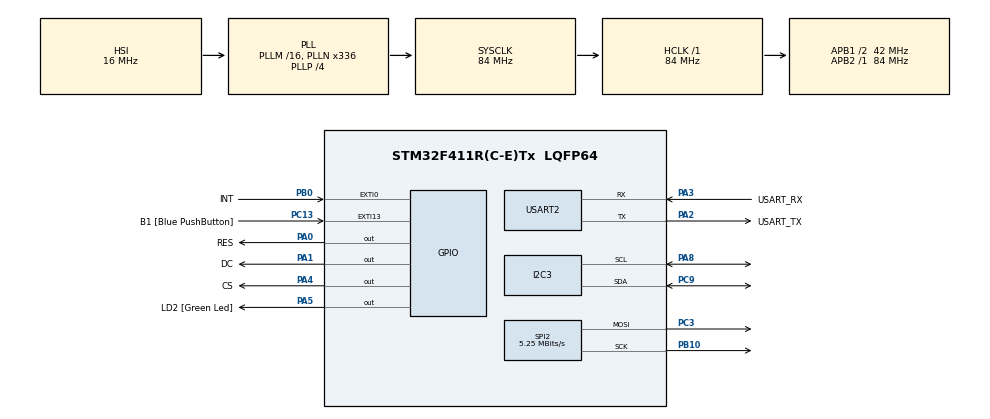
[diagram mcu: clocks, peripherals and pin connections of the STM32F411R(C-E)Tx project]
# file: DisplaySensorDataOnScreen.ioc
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I2C3.I2C_Mode=I2C_Fast
Mcu.Family=STM32F4
Mcu.Name=STM32F411R(C-E)Tx
Mcu.Package=LQFP64
NVIC.EXTI0_IRQn=true\:0\:0\:false\:false\:true\:true\:true\:true
NVIC.PriorityGroup=NVIC_PRIORITYGROUP_0
PA0-WKUP.GPIO_Label=RES
PA0-WKUP.PinState=GPIO_PIN_SET
PA0-WKUP.Signal=GPIO_Output
PA1.GPIO_Label=DC
PA1.Signal=GPIO_Output
PA13.GPIO_Label=TMS
PA13.Mode=Serial_Wire
PA13.Signal=SYS_JTMS-SWDIO
PA14.GPIO_Label=TCK
PA14.Mode=Serial_Wire
PA14.Signal=SYS_JTCK-SWCLK
PA2.GPIO_Label=USART_TX
PA2.Mode=Asynchronous
PA2.Signal=USART2_TX
PA3.GPIO_Label=USART_RX
PA3.Mode=Asynchronous
PA3.Signal=USART2_RX
PA4.GPIO_Label=CS
PA4.PinState=GPIO_PIN_SET
PA4.Signal=GPIO_Output
PA5.GPIO_Label=LD2 [Green Led]
PA5.Signal=GPIO_Output
PA8.Mode=I2C
PA8.Signal=I2C3_SCL
PB0.GPIO_Label=INT
PB0.Signal=GPXTI0
PB10.Mode=TX_Only_Simplex_Unidirect_Master
PB10.Signal=SPI2_SCK
PB3.GPIO_Label=SWO
PB3.Signal=SYS_JTDO-SWO
PC13-ANTI_TAMP.GPIO_Label=B1 [Blue PushButton]
PC13-ANTI_TAMP.GPIO_ModeDefaultEXTI=GPIO_MODE_IT_FALLING
PC13-ANTI_TAMP.Signal=GPXTI13
PC14-OSC32_IN.Mode=LSE-External-Oscillator
PC14-OSC32_IN.Signal=RCC_OSC32_IN
PC15-OSC32_OUT.Mode=LSE-External-Oscillator
PC15-OSC32_OUT.Signal=RCC_OSC32_OUT
PC3.Mode=TX_Only_Simplex_Unidirect_Master
PC3.Signal=SPI2_MOSI
PC9.Mode=I2C
PC9.Signal=I2C3_SDA
PH0\ -\ OSC_IN.Mode=HSE-External-Clock-Source
PH0\ -\ OSC_IN.Signal=RCC_OSC_IN
PH1\ -\ OSC_OUT.Mode=HSE-External-Clock-Source
PH1\ -\ OSC_OUT.Signal=RCC_OSC_OUT
ProjectManager.HeapSize=0x200
ProjectManager.StackSize=0x400
ProjectManager.TargetToolchain=STM32CubeIDE
RCC.48MHZClocksFreq_Value=84000000
RCC.AHBFreq_Value=84000000
RCC.APB1CLKDivider=RCC_HCLK_DIV2
RCC.APB1Freq_Value=42000000
RCC.APB1TimFreq_Value=84000000
RCC.APB2Freq_Value=84000000
RCC.APB2TimFreq_Value=84000000
RCC.CortexFreq_Value=84000000
RCC.FLatency-AdvancedSettings=FLASH_LATENCY_2
RCC.HCLKFreq_Value=84000000
RCC.HSE_VALUE=8000000
RCC.HSI_VALUE=16000000
RCC.PLLN=336
RCC.PLLP=RCC_PLLP_DIV4
RCC.SYSCLKFreq_VALUE=84000000
RCC.SYSCLKSource=RCC_SYSCLKSOURCE_PLLCLK
RCC.VCOOutputFreq_Value=336000000
SPI2.BaudRatePrescaler=SPI_BAUDRATEPRESCALER_8
SPI2.CalculateBaudRate=5.25 MBits/s
SPI2.Direction=SPI_DIRECTION_2LINES
SPI2.Mode=SPI_MODE_MASTER
SPI2.VirtualType=VM_MASTER
USART2.VirtualMode=VM_ASYNC
board=NUCLEO-F411RE

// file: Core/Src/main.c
/* USER CODE BEGIN Header */
/**
  ******************************************************************************
  * @file           : main.c
  * @brief          : Main program body
  ******************************************************************************
  * @attention
  *
  * Copyright (c) 2026 STMicroelectronics.
  * All rights reserved.
  *
  * This software is licensed under terms that can be found in the LICENSE file
  * in the root directory of this software component.
  * If no LICENSE file comes with this software, it is provided AS-IS.
  *
  ******************************************************************************
  */
/* USER CODE END Header */
#include "main.h"
#include "MPU6050.h"
#include "SSD1309.h"

I2C_HandleTypeDef hi2c3;

SPI_HandleTypeDef hspi2;

UART_HandleTypeDef huart2;

void SystemClock_Config(void);
static void MX_GPIO_Init(void);
static void MX_I2C3_Init(void);
static void MX_SPI2_Init(void);
static void MX_USART2_UART_Init(void);

/* USER CODE BEGIN 0 */
volatile uint8_t data_rdy = 0;
void HAL_GPIO_EXTI_Callback(uint16_t GPIO_Pin){
	if (GPIO_Pin == GPIO_PIN_0){
		data_rdy = 1;
	}
	else{
		__NOP();
	}
}
/* USER CODE END 0 */

int main(void)
{

  /* MCU Configuration--------------------------------------------------------*/

  /* Reset of all peripherals, Initializes the Flash interface and the Systick. */
  HAL_Init();

  /* Configure the system clock */
  SystemClock_Config();

  /* Initialize all configured peripherals */
  MX_GPIO_Init();
  MX_I2C3_Init();
  MX_SPI2_Init();
  MX_USART2_UART_Init();
  /* USER CODE BEGIN 2 */

  SSD1309_PinMap pinmap = {
		  .cs.GPIOx = GPIOA,
		  .cs.GPIO_Pin = GPIO_PIN_4,
		  .dc.GPIOx = GPIOA,
		  .dc.GPIO_Pin = GPIO_PIN_1,
		  .res.GPIOx = GPIOA,
		  .res.GPIO_Pin = GPIO_PIN_0
  };

  SSD1309ResetDevice(&hspi2, &pinmap);
  HAL_GPIO_WritePin(GPIOA, GPIO_PIN_1, GPIO_PIN_RESET);
  HAL_GPIO_WritePin(GPIOA, GPIO_PIN_4, GPIO_PIN_RESET);
  HAL_Delay(50);
  uint8_t all_on[2] = {0xAF, 0xA5};
  HAL_SPI_Transmit(&hspi2, all_on, 2, 10);
  HAL_GPIO_WritePin(GPIOA, GPIO_PIN_4, GPIO_PIN_SET);

  SelfTestParameters sp = {0};
  Read_Test_Values(&hi2c3, &sp);
  uint8_t result = Perform_Test(&hi2c3, sp);
  if (result) return 1;

  MPU60X0ConfigRegisters conf = {
		  .config = CONFIG_DLPF_CFG_184Hz,
		  .gyro_config = GYRO_CONFIG_FS_SEL_1000,
		  .accel_config = ACCEL_CONFIG_AFS_SEL_8G,
		  .mot_thr = 0x00,
		  .fifo_en = (FIFO_EN_TEMP | FIFO_EN_XG | FIFO_EN_YG | FIFO_EN_ZG | FIFO_EN_ACCEL),
		  .i2c_mst_ctrl = 0x00,
		  .int_pin_cfg = 0x00,
		  .int_enable = INT_ENABLE_DATA_RDY_EN,
		  .signal_path_reset = 0x00,
		  .mot_detect_ctrl = 0x00,
		  .user_ctrl = FIFO_EN,
		  .pwr_mgmt_1 = PWR_MGMT_1_CLKSEL_PLL_X,
		  .pwr_mgmt_2 = 0x00
  };
  MPU60X0Init(&hi2c3, &conf);
  int16_t acc[3], gyro[3], temp;
  /* USER CODE END 2 */

  /* Infinite loop */
  /* USER CODE BEGIN WHILE */
  while (1)
  {
	  if (data_rdy == 1){
		  MPU60X0_Read_FIFO_All(&hi2c3, acc, &temp, gyro);

	  }
    /* USER CODE END WHILE */

  }
}

void SystemClock_Config(void)
{
  RCC_OscInitTypeDef RCC_OscInitStruct = {0};
  RCC_ClkInitTypeDef RCC_ClkInitStruct = {0};

  /** Configure the main internal regulator output voltage
  */
  __HAL_RCC_PWR_CLK_ENABLE();
  __HAL_PWR_VOLTAGESCALING_CONFIG(PWR_REGULATOR_VOLTAGE_SCALE1);

  /** Initializes the RCC Oscillators according to the specified parameters
  * in the RCC_OscInitTypeDef structure.
  */
  RCC_OscInitStruct.OscillatorType = RCC_OSCILLATORTYPE_HSI;
  RCC_OscInitStruct.HSIState = RCC_HSI_ON;
  RCC_OscInitStruct.HSICalibrationValue = RCC_HSICALIBRATION_DEFAULT;
  RCC_OscInitStruct.PLL.PLLState = RCC_PLL_ON;
  RCC_OscInitStruct.PLL.PLLSource = RCC_PLLSOURCE_HSI;
  RCC_OscInitStruct.PLL.PLLM = 16;
  RCC_OscInitStruct.PLL.PLLN = 336;
  RCC_OscInitStruct.PLL.PLLP = RCC_PLLP_DIV4;
  RCC_OscInitStruct.PLL.PLLQ = 4;
  if (HAL_RCC_OscConfig(&RCC_OscInitStruct) != HAL_OK)
  {
    Error_Handler();
  }

  /** Initializes the CPU, AHB and APB buses clocks
  */
  RCC_ClkInitStruct.ClockType = RCC_CLOCKTYPE_HCLK|RCC_CLOCKTYPE_SYSCLK
                              |RCC_CLOCKTYPE_PCLK1|RCC_CLOCKTYPE_PCLK2;
  RCC_ClkInitStruct.SYSCLKSource = RCC_SYSCLKSOURCE_PLLCLK;
  RCC_ClkInitStruct.AHBCLKDivider = RCC_SYSCLK_DIV1;
  RCC_ClkInitStruct.APB1CLKDivider = RCC_HCLK_DIV2;
  RCC_ClkInitStruct.APB2CLKDivider = RCC_HCLK_DIV1;

  if (HAL_RCC_ClockConfig(&RCC_ClkInitStruct, FLASH_LATENCY_2) != HAL_OK)
  {
    Error_Handler();
  }
}

static void MX_I2C3_Init(void)
{

  hi2c3.Instance = I2C3;
  hi2c3.Init.ClockSpeed = 400000;
  hi2c3.Init.DutyCycle = I2C_DUTYCYCLE_2;
  hi2c3.Init.OwnAddress1 = 0;
  hi2c3.Init.AddressingMode = I2C_ADDRESSINGMODE_7BIT;
  hi2c3.Init.DualAddressMode = I2C_DUALADDRESS_DISABLE;
  hi2c3.Init.OwnAddress2 = 0;
  hi2c3.Init.GeneralCallMode = I2C_GENERALCALL_DISABLE;
  hi2c3.Init.NoStretchMode = I2C_NOSTRETCH_DISABLE;
  if (HAL_I2C_Init(&hi2c3) != HAL_OK)
  {
    Error_Handler();
  }

}

static void MX_SPI2_Init(void)
{

  /* SPI2 parameter configuration*/
  hspi2.Instance = SPI2;
  hspi2.Init.Mode = SPI_MODE_MASTER;
  hspi2.Init.Direction = SPI_DIRECTION_2LINES;
  hspi2.Init.DataSize = SPI_DATASIZE_8BIT;
  hspi2.Init.CLKPolarity = SPI_POLARITY_LOW;
  hspi2.Init.CLKPhase = SPI_PHASE_1EDGE;
  hspi2.Init.NSS = SPI_NSS_SOFT;
  hspi2.Init.BaudRatePrescaler = SPI_BAUDRATEPRESCALER_8;
  hspi2.Init.FirstBit = SPI_FIRSTBIT_MSB;
  hspi2.Init.TIMode = SPI_TIMODE_DISABLE;
  hspi2.Init.CRCCalculation = SPI_CRCCALCULATION_DISABLE;
  hspi2.Init.CRCPolynomial = 10;
  if (HAL_SPI_Init(&hspi2) != HAL_OK)
  {
    Error_Handler();
  }

}

static void MX_USART2_UART_Init(void)
{

  huart2.Instance = USART2;
  huart2.Init.BaudRate = 115200;
  huart2.Init.WordLength = UART_WORDLENGTH_8B;
  huart2.Init.StopBits = UART_STOPBITS_1;
  huart2.Init.Parity = UART_PARITY_NONE;
  huart2.Init.Mode = UART_MODE_TX_RX;
  huart2.Init.HwFlowCtl = UART_HWCONTROL_NONE;
  huart2.Init.OverSampling = UART_OVERSAMPLING_16;
  if (HAL_UART_Init(&huart2) != HAL_OK)
  {
    Error_Handler();
  }

}

static void MX_GPIO_Init(void)
{
  GPIO_InitTypeDef GPIO_InitStruct = {0};

  /* GPIO Ports Clock Enable */
  __HAL_RCC_GPIOC_CLK_ENABLE();
  __HAL_RCC_GPIOH_CLK_ENABLE();
  __HAL_RCC_GPIOA_CLK_ENABLE();
  __HAL_RCC_GPIOB_CLK_ENABLE();

  /*Configure GPIO pin Output Level */
  HAL_GPIO_WritePin(GPIOA, RES_Pin|CS_Pin, GPIO_PIN_SET);

  /*Configure GPIO pin Output Level */
  HAL_GPIO_WritePin(GPIOA, DC_Pin|LD2_Pin, GPIO_PIN_RESET);

  /*Configure GPIO pin : B1_Pin */
  GPIO_InitStruct.Pin = B1_Pin;
  GPIO_InitStruct.Mode = GPIO_MODE_IT_FALLING;
  GPIO_InitStruct.Pull = GPIO_NOPULL;
  HAL_GPIO_Init(B1_GPIO_Port, &GPIO_InitStruct);

  /*Configure GPIO pins : RES_Pin DC_Pin CS_Pin LD2_Pin */
  GPIO_InitStruct.Pin = RES_Pin|DC_Pin|CS_Pin|LD2_Pin;
  GPIO_InitStruct.Mode = GPIO_MODE_OUTPUT_PP;
  GPIO_InitStruct.Pull = GPIO_NOPULL;
  GPIO_InitStruct.Speed = GPIO_SPEED_FREQ_LOW;
  HAL_GPIO_Init(GPIOA, &GPIO_InitStruct);

  /*Configure GPIO pin : INT_Pin */
  GPIO_InitStruct.Pin = INT_Pin;
  GPIO_InitStruct.Mode = GPIO_MODE_IT_RISING;
  GPIO_InitStruct.Pull = GPIO_NOPULL;
  HAL_GPIO_Init(INT_GPIO_Port, &GPIO_InitStruct);

  /* EXTI interrupt init*/
  HAL_NVIC_SetPriority(EXTI0_IRQn, 0, 0);
  HAL_NVIC_EnableIRQ(EXTI0_IRQn);

}

void Error_Handler(void)
{
  __disable_irq();
  while (1)
  {
  }
}
